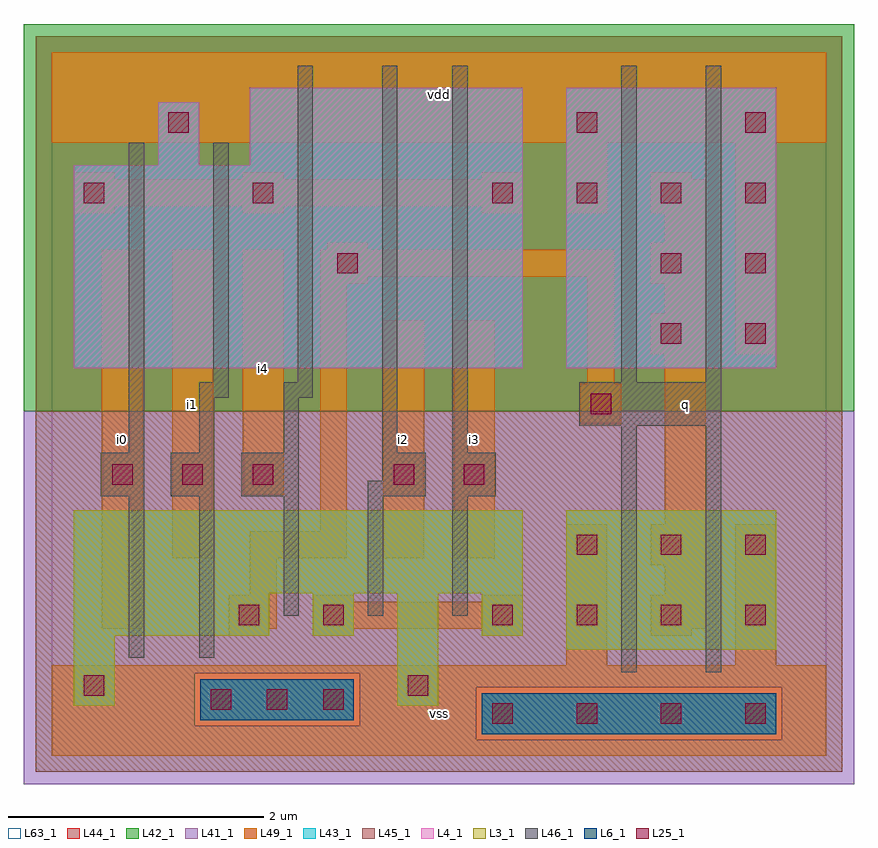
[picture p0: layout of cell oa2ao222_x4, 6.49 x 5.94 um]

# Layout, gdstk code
import gdstk
lib = gdstk.Library(unit=1e-6, precision=1e-09)
def R(c, l, rs):  # rectangles x0, y0, x1, y1
    for r in rs: c.add(gdstk.rectangle(r[:2], r[2:], *l))
def A(c, l, x, y, w, h, nx, ny, dx, dy):  # array of equal rectangles
    R(c, l, [(x+i*dx, y+j*dy, x+i*dx+w, y+j*dy+h) for i in range(nx) for j in range(ny)])
L3_1 = (3, 1)
L4_1 = (4, 1)
L6_1 = (6, 1)
L25_1 = (25, 1)
L41_1 = (41, 1)
L42_1 = (42, 1)
L43_1 = (43, 1)
L44_1 = (44, 1)
L45_1 = (45, 1)
L46_1 = (46, 1)
L49_1 = (49, 1)
L63_1 = (63, 1)

oa2ao222_x4 = lib.new_cell('oa2ao222_x4')
R(oa2ao222_x4, L3_1, [(0.17,0.39,0.49,0.94), (2.7,0.39,3.02,1.27), (4.02,0.83,5.66,1.92), (0.17,0.94,1.7,1.27), (2.04,0.94,2.36,1.27), (3.36,0.94,3.68,1.27), (0.17,1.27,3.68,1.92)])
R(oa2ao222_x4, L4_1, [(0.17,3.03,3.68,4.615), (4.02,3.03,5.66,5.22), (0.83,4.615,1.15,5.11), (1.545,4.615,3.68,5.22)])
R(oa2ao222_x4, L6_1, [(3.36,0.17,5.66,0.49), (1.16,0.28,2.36,0.6)])
A(oa2ao222_x4, L25_1, 3.44, 0.25, 0.16, 0.16, 4, 2, 0.66, 0.77)
A(oa2ao222_x4, L25_1, 1.24, 0.36, 0.16, 0.16, 3, 1, 0.44, 0)
A(oa2ao222_x4, L25_1, 4.1, 1.57, 0.16, 0.16, 3, 1, 0.66, 0)
A(oa2ao222_x4, L25_1, 0.47, 2.12, 0.16, 0.16, 3, 1, 0.55, 0)
A(oa2ao222_x4, L25_1, 3.44, 4.32, 0.16, 0.16, 4, 1, 0.66, 0)
R(oa2ao222_x4, L25_1, [(0.25,0.47,0.41,0.63), (2.78,0.47,2.94,0.63), (1.46,1.02,1.62,1.18), (2.12,1.02,2.28,1.18), (2.67,2.12,2.83,2.28), (3.22,2.12,3.38,2.28), (4.21,2.67,4.37,2.83), (4.76,3.22,4.92,3.38), (5.42,3.22,5.58,3.38), (2.23,3.77,2.39,3.93), (4.76,3.77,4.92,3.93), (5.42,3.77,5.58,3.93), (0.25,4.32,0.41,4.48), (1.57,4.32,1.73,4.48), (0.91,4.87,1.07,5.03), (4.1,4.87,4.26,5.03), (5.42,4.87,5.58,5.03)])
R(oa2ao222_x4, L41_1, [(-0.22,-0.22,6.27,2.695)])
R(oa2ao222_x4, L42_1, [(-0.22,2.695,6.27,5.72)])
R(oa2ao222_x4, L43_1, [(3.36,0.17,5.66,0.49), (1.16,0.28,2.36,0.6), (0.17,0.39,0.49,0.94), (2.7,0.39,3.02,1.27), (4.02,0.83,5.66,1.92), (0.17,0.94,1.7,1.27), (2.04,0.94,2.36,1.27), (3.36,0.94,3.68,1.27), (0.17,1.27,3.68,1.92), (0.17,3.03,3.68,4.615), (4.02,3.03,5.66,5.22), (0.83,4.615,1.15,5.11), (1.545,4.615,3.68,5.22)])
R(oa2ao222_x4, L44_1, [(3.315,0.125,5.705,0.535), (1.115,0.235,2.405,0.645), (-0.125,2.695,6.175,5.625)])
R(oa2ao222_x4, L45_1, [(-0.125,-0.125,6.175,0.125), (-0.125,0.125,3.315,0.235), (5.705,0.125,6.175,0.535), (-0.125,0.235,1.115,0.645), (2.405,0.235,3.315,0.535), (2.405,0.535,6.175,0.645), (-0.125,0.645,6.175,2.695)])
A(oa2ao222_x4, L46_1, 1.81, 1.095, 0.12, 0.935, 3, 1, 0.66, 0)
R(oa2ao222_x4, L46_1, [(4.45,0.655,4.57,2.58), (5.11,0.655,5.23,2.58), (0.6,0.765,0.72,2.03), (1.15,0.765,1.27,2.03), (0.38,2.03,0.72,2.37), (0.93,2.03,1.27,2.37), (1.48,2.03,1.93,2.37), (2.47,2.03,2.92,2.15), (3.13,2.03,3.47,2.37), (2.58,2.15,2.92,2.37), (0.6,2.37,0.72,4.79), (1.15,2.37,1.27,2.8), (1.81,2.37,1.93,2.8), (2.58,2.37,2.7,5.395), (3.13,2.37,3.25,5.395), (4.12,2.58,5.23,2.92), (1.15,2.8,1.38,2.92), (1.81,2.8,2.04,2.92), (1.26,2.92,1.38,4.79), (1.92,2.92,2.04,5.395), (4.45,2.92,4.57,5.395), (5.11,2.92,5.23,5.395)])
A(oa2ao222_x4, L49_1, 2.04, 0.94, 0.32, 0.055, 3, 1, 1.32, 0)
R(oa2ao222_x4, L49_1, [(0,0,6.05,0.71), (4.02,0.71,4.34,1.81), (5.34,0.71,5.66,1.81), (1.38,0.94,1.7,0.995), (0.39,0.995,0.71,3.955), (1.38,0.995,1.755,1.26), (2.04,0.995,3.68,1.205), (4.68,0.995,5.11,1.26), (2.04,1.205,2.36,1.26), (3.36,1.205,3.68,1.26), (1.545,1.26,1.755,1.545), (4.79,1.26,5.11,1.49), (4.68,1.49,5.11,1.81), (0.94,1.545,1.26,3.955), (1.545,1.545,2.305,1.755), (2.59,1.545,2.91,3.405), (3.14,1.545,3.46,3.405), (2.095,1.755,2.305,3.69), (4.79,1.81,5.11,3.14), (1.49,2.04,1.81,3.955), (4.13,2.59,4.45,2.91), (4.185,2.91,4.395,3.745), (4.68,3.14,5.11,3.46), (5.34,3.14,5.66,4.79), (4.79,3.46,5.11,3.69), (2.095,3.69,2.47,3.745), (4.68,3.69,5.11,4.01), (2.095,3.745,4.395,3.955), (2.15,3.955,2.47,4.01), (4.79,4.01,5.11,4.24), (0.17,4.24,0.49,4.295), (1.49,4.24,1.81,4.295), (3.36,4.24,3.68,4.295), (4.02,4.24,4.34,4.79), (4.68,4.24,5.11,4.505), (0.17,4.295,3.68,4.505), (0.17,4.505,0.49,4.56), (1.49,4.505,1.81,4.56), (3.36,4.505,3.68,4.56), (4.68,4.505,5,4.56), (0,4.79,6.05,5.5)])
R(oa2ao222_x4, L63_1, [(0,0,6.05,5.5)])
oa2ao222_x4.add(gdstk.Label('i0', (0.55,2.475), layer=49, texttype=1))
oa2ao222_x4.add(gdstk.Label('i0', (0.55,2.475), layer=49, texttype=1))
oa2ao222_x4.add(gdstk.Label('i1', (1.1,2.75), layer=49, texttype=1))
oa2ao222_x4.add(gdstk.Label('i1', (1.1,2.75), layer=49, texttype=1))
oa2ao222_x4.add(gdstk.Label('i4', (1.65,3.025), layer=49, texttype=1))
oa2ao222_x4.add(gdstk.Label('i4', (1.65,3.025), layer=49, texttype=1))
oa2ao222_x4.add(gdstk.Label('vss', (3.025,0.33), layer=49, texttype=1))
oa2ao222_x4.add(gdstk.Label('vss', (3.025,0.33), layer=49, texttype=1))
oa2ao222_x4.add(gdstk.Label('i2', (2.75,2.475), layer=49, texttype=1))
oa2ao222_x4.add(gdstk.Label('i3', (3.3,2.475), layer=49, texttype=1))
oa2ao222_x4.add(gdstk.Label('i3', (3.3,2.475), layer=49, texttype=1))
oa2ao222_x4.add(gdstk.Label('i2', (2.75,2.475), layer=49, texttype=1))
oa2ao222_x4.add(gdstk.Label('vdd', (3.025,5.17), layer=49, texttype=1))
oa2ao222_x4.add(gdstk.Label('vdd', (3.025,5.17), layer=49, texttype=1))
oa2ao222_x4.add(gdstk.Label('q', (4.95,2.75), layer=49, texttype=1))
oa2ao222_x4.add(gdstk.Label('q', (4.95,2.75), layer=49, texttype=1))

lib.write_gds('oa2ao222_x4.gds')
